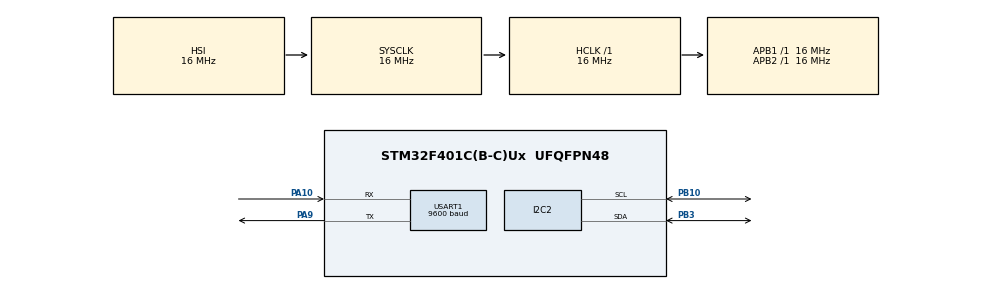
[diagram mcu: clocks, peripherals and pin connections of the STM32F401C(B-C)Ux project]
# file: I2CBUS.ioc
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Mcu.Family=STM32F4
Mcu.Name=STM32F401C(B-C)Ux
Mcu.Package=UFQFPN48
NVIC.I2C2_ER_IRQn=true\:0\:0\:false\:false\:true\:true\:true\:true
NVIC.I2C2_EV_IRQn=true\:0\:0\:false\:false\:true\:true\:true\:true
NVIC.PriorityGroup=NVIC_PRIORITYGROUP_4
NVIC.USART1_IRQn=true\:0\:0\:false\:false\:true\:true\:true\:true
PA10.Mode=Asynchronous
PA10.Signal=USART1_RX
PA9.Mode=Asynchronous
PA9.Signal=USART1_TX
PB10.Mode=I2C
PB10.Signal=I2C2_SCL
PB3.Mode=I2C
PB3.Signal=I2C2_SDA
ProjectManager.HeapSize=0x200
ProjectManager.StackSize=0x400
ProjectManager.TargetToolchain=STM32CubeIDE
RCC.AHBFreq_Value=16000000
RCC.APB1Freq_Value=16000000
RCC.APB2Freq_Value=16000000
RCC.CortexFreq_Value=16000000
RCC.HSE_VALUE=25000000
RCC.HSI_VALUE=16000000
RCC.LSE_VALUE=32768
RCC.SYSCLKFreq_VALUE=16000000
RCC.VCOOutputFreq_Value=192000000
USART1.BaudRate=9600
USART1.VirtualMode=VM_ASYNC
board=custom

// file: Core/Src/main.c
/* USER CODE BEGIN Header */
/**
  ******************************************************************************
  * @file           : main.c
  * @brief          : Main program body
  ******************************************************************************
  * @attention
  *
  * Copyright (c) 2026 STMicroelectronics.
  * All rights reserved.
  *
  * This software is licensed under terms that can be found in the LICENSE file
  * in the root directory of this software component.
  * If no LICENSE file comes with this software, it is provided AS-IS.
  *
  ******************************************************************************
  */
/* USER CODE END Header */
#include "main.h"

/* USER CODE BEGIN Includes */
#include <string.h>
#include <stdio.h>
/* USER CODE END Includes */

I2C_HandleTypeDef hi2c2;

UART_HandleTypeDef huart1;

/* USER CODE BEGIN PV */
void MPU6050_Init(void);
uint8_t data = 0x00;
uint8_t buffer[2];
char buf[16];
uint16_t temp;

/* USER CODE END PV */

void SystemClock_Config(void);
static void MX_GPIO_Init(void);
static void MX_I2C2_Init(void);
static void MX_USART1_UART_Init(void);

int main(void)
{

  /* MCU Configuration--------------------------------------------------------*/

  /* Reset of all peripherals, Initializes the Flash interface and the Systick. */
  HAL_Init();

  /* Configure the system clock */
  SystemClock_Config();

  /* Initialize all configured peripherals */
  MX_GPIO_Init();
  MX_I2C2_Init();
  MX_USART1_UART_Init();
  /* USER CODE BEGIN 2 */
  MPU6050_Init();

  /* USER CODE END 2 */

  /* Infinite loop */
  while (1)
  {
	  HAL_I2C_Mem_Read(&hi2c2,
	  	                   0x68 << 1,
	  	                   0x41,
	  	                   I2C_MEMADD_SIZE_8BIT,
	  	                   buffer,
	  	                   2,
	  	                   1000);

	  	  /* Combine */
	  	  temp = (buffer[0] << 8) | buffer[1];

	        sprintf(buf,"TEMP: %u\r\n", temp);
	        HAL_UART_Transmit(&huart1, (uint8_t*)buf, strlen(buf), 1000);

	  	  HAL_Delay(1500);
  }
}

void SystemClock_Config(void)
{
  RCC_OscInitTypeDef RCC_OscInitStruct = {0};
  RCC_ClkInitTypeDef RCC_ClkInitStruct = {0};

  /** Configure the main internal regulator output voltage
  */
  __HAL_RCC_PWR_CLK_ENABLE();
  __HAL_PWR_VOLTAGESCALING_CONFIG(PWR_REGULATOR_VOLTAGE_SCALE2);

  /** Initializes the RCC Oscillators according to the specified parameters
  * in the RCC_OscInitTypeDef structure.
  */
  RCC_OscInitStruct.OscillatorType = RCC_OSCILLATORTYPE_HSI;
  RCC_OscInitStruct.HSIState = RCC_HSI_ON;
  RCC_OscInitStruct.HSICalibrationValue = RCC_HSICALIBRATION_DEFAULT;
  RCC_OscInitStruct.PLL.PLLState = RCC_PLL_NONE;
  if (HAL_RCC_OscConfig(&RCC_OscInitStruct) != HAL_OK)
  {
    Error_Handler();
  }

  /** Initializes the CPU, AHB and APB buses clocks
  */
  RCC_ClkInitStruct.ClockType = RCC_CLOCKTYPE_HCLK|RCC_CLOCKTYPE_SYSCLK
                              |RCC_CLOCKTYPE_PCLK1|RCC_CLOCKTYPE_PCLK2;
  RCC_ClkInitStruct.SYSCLKSource = RCC_SYSCLKSOURCE_HSI;
  RCC_ClkInitStruct.AHBCLKDivider = RCC_SYSCLK_DIV1;
  RCC_ClkInitStruct.APB1CLKDivider = RCC_HCLK_DIV1;
  RCC_ClkInitStruct.APB2CLKDivider = RCC_HCLK_DIV1;

  if (HAL_RCC_ClockConfig(&RCC_ClkInitStruct, FLASH_LATENCY_0) != HAL_OK)
  {
    Error_Handler();
  }
}

static void MX_I2C2_Init(void)
{

  hi2c2.Instance = I2C2;
  hi2c2.Init.ClockSpeed = 100000;
  hi2c2.Init.DutyCycle = I2C_DUTYCYCLE_2;
  hi2c2.Init.OwnAddress1 = 0;
  hi2c2.Init.AddressingMode = I2C_ADDRESSINGMODE_7BIT;
  hi2c2.Init.DualAddressMode = I2C_DUALADDRESS_DISABLE;
  hi2c2.Init.OwnAddress2 = 0;
  hi2c2.Init.GeneralCallMode = I2C_GENERALCALL_DISABLE;
  hi2c2.Init.NoStretchMode = I2C_NOSTRETCH_DISABLE;
  if (HAL_I2C_Init(&hi2c2) != HAL_OK)
  {
    Error_Handler();
  }

}

static void MX_USART1_UART_Init(void)
{

  huart1.Instance = USART1;
  huart1.Init.BaudRate = 9600;
  huart1.Init.WordLength = UART_WORDLENGTH_8B;
  huart1.Init.StopBits = UART_STOPBITS_1;
  huart1.Init.Parity = UART_PARITY_NONE;
  huart1.Init.Mode = UART_MODE_TX_RX;
  huart1.Init.HwFlowCtl = UART_HWCONTROL_NONE;
  huart1.Init.OverSampling = UART_OVERSAMPLING_16;
  if (HAL_UART_Init(&huart1) != HAL_OK)
  {
    Error_Handler();
  }

}

static void MX_GPIO_Init(void)
{

  /* GPIO Ports Clock Enable */
  __HAL_RCC_GPIOB_CLK_ENABLE();
  __HAL_RCC_GPIOA_CLK_ENABLE();

}

/* USER CODE BEGIN 4 */
void MPU6050_Init(void)
{
    // Wake up
    HAL_I2C_Mem_Write(&hi2c2,
                      0x68 << 1,
                      0x6B,
                      I2C_MEMADD_SIZE_8BIT,
                      &data,
                      1,
                      1000);
}

/* USER CODE END 4 */

void Error_Handler(void)
{
  __disable_irq();
  while (1)
  {
  }
}
